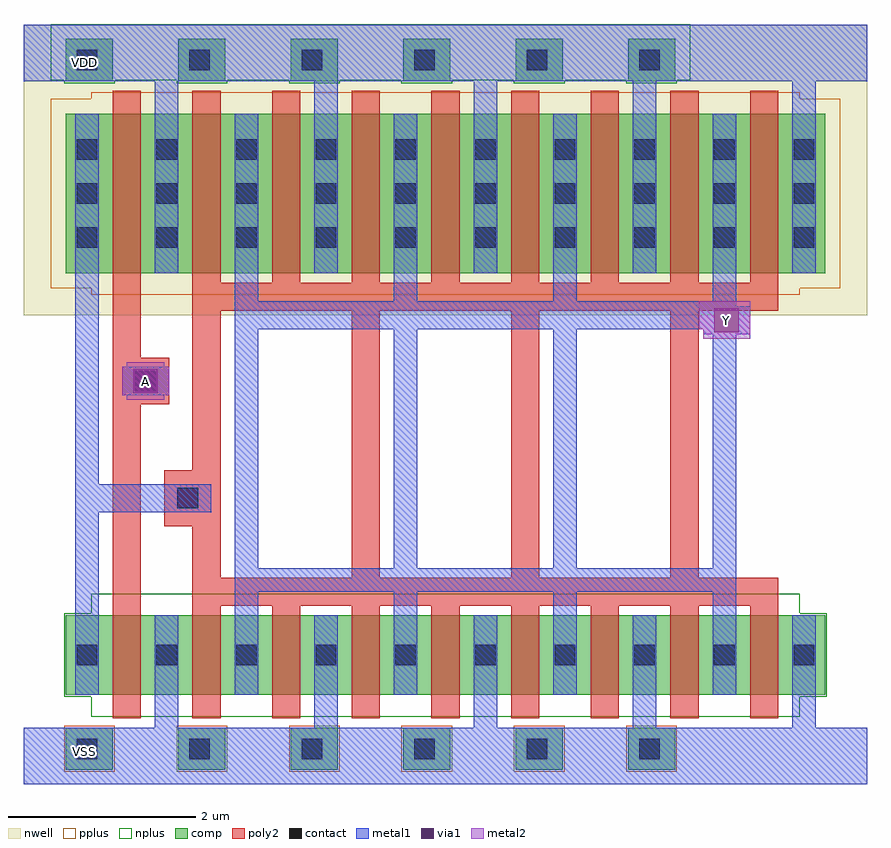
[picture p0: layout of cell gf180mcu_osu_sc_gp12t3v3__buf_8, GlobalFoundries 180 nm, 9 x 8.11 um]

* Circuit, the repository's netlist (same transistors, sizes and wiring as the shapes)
* Copyright 2022 Google LLC
*
* Licensed under the Apache License, Version 2.0 (the "License");
* you may not use this file except in compliance with the License.
* You may obtain a copy of the License at
*
*      http://www.apache.org/licenses/LICENSE-2.0
*
* Unless required by applicable law or agreed to in writing, software
* distributed under the License is distributed on an "AS IS" BASIS,
* WITHOUT WARRANTIES OR CONDITIONS OF ANY KIND, either express or implied.
* See the License for the specific language governing permissions and
* limitations under the License.

* NGSPICE file created from gf180mcu_osu_sc_gp12t3v3__buf_8.ext - technology: gf180mcuC

.subckt gf180mcu_osu_sc_gp12t3v3__buf_8 A Y VDD VSS
X0 Y a_9_21# VDD VDD pfet_03p3 w=1.7u l=0.3u
X1 VDD a_9_21# Y VDD pfet_03p3 w=1.7u l=0.3u
X2 VDD a_9_21# Y VDD pfet_03p3 w=1.7u l=0.3u
X3 Y a_9_21# VDD VDD pfet_03p3 w=1.7u l=0.3u
X4 Y a_9_21# VSS VSS nfet_03p3 w=0.85u l=0.3u
X5 VDD A a_9_21# VDD pfet_03p3 w=1.7u l=0.3u
X6 VSS a_9_21# Y VSS nfet_03p3 w=0.85u l=0.3u
X7 VSS a_9_21# Y VSS nfet_03p3 w=0.85u l=0.3u
X8 VSS A a_9_21# VSS nfet_03p3 w=0.85u l=0.3u
X9 VSS a_9_21# Y VSS nfet_03p3 w=0.85u l=0.3u
X10 VSS a_9_21# Y VSS nfet_03p3 w=0.85u l=0.3u
X11 Y a_9_21# VSS VSS nfet_03p3 w=0.85u l=0.3u
X12 Y a_9_21# VSS VSS nfet_03p3 w=0.85u l=0.3u
X13 Y a_9_21# VSS VSS nfet_03p3 w=0.85u l=0.3u
X14 VDD a_9_21# Y VDD pfet_03p3 w=1.7u l=0.3u
X15 Y a_9_21# VDD VDD pfet_03p3 w=1.7u l=0.3u
X16 VDD a_9_21# Y VDD pfet_03p3 w=1.7u l=0.3u
X17 Y a_9_21# VDD VDD pfet_03p3 w=1.7u l=0.3u
.ends

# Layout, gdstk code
import gdstk
lib = gdstk.Library(unit=1e-6, precision=1e-09)
def R(c, l, rs):  # rectangles x0, y0, x1, y1
    for r in rs: c.add(gdstk.rectangle(r[:2], r[2:], *l))
def A(c, l, x, y, w, h, nx, ny, dx, dy):  # array of equal rectangles
    R(c, l, [(x+i*dx, y+j*dy, x+i*dx+w, y+j*dy+h) for i in range(nx) for j in range(ny)])
nwell = (21, 0)
comp = (22, 0)
poly2 = (30, 0)
pplus = (31, 0)
nplus = (32, 0)
contact = (33, 0)
metal1 = (34, 0)
via1 = (35, 0)
metal2 = (36, 0)

gf180mcu_osu_sc_gp12t3v3 = lib.new_cell('gf180mcu_osu_sc_gp12t3v3__buf_8')
R(gf180mcu_osu_sc_gp12t3v3, nwell, [(0,5,9,8.1)])
A(gf180mcu_osu_sc_gp12t3v3, comp, 0.45, 0.15, 0.5, 0.45, 6, 2, 1.2, 7.35)
R(gf180mcu_osu_sc_gp12t3v3, comp, [(0.45,0.95,8.55,1.8), (0.45,5.45,8.55,7.15)])
A(gf180mcu_osu_sc_gp12t3v3, poly2, 1.8, 0.7, 0.3, 1.2, 8, 1, 0.85, 0)
A(gf180mcu_osu_sc_gp12t3v3, poly2, 3.5, 2.2, 0.3, 2.85, 3, 1, 1.7, 0)
A(gf180mcu_osu_sc_gp12t3v3, poly2, 1.8, 5.35, 0.3, 2.05, 8, 1, 0.85, 0)
R(gf180mcu_osu_sc_gp12t3v3, poly2, [(0.95,0.7,1.25,4.05), (1.8,1.9,8.05,2.2), (1.8,2.2,2.1,2.75), (1.5,2.75,2.1,3.35), (1.8,3.35,2.1,5.05), (0.95,4.05,1.55,4.55), (0.95,4.55,1.25,7.4), (1.8,5.05,8.05,5.35)])
A(gf180mcu_osu_sc_gp12t3v3, pplus, 0.43, 0.13, 0.54, 0.49, 6, 1, 1.2, 0)
R(gf180mcu_osu_sc_gp12t3v3, pplus, [(0.72,5.22,8.28,5.29), (0.29,5.29,8.71,7.31), (0.72,7.31,8.28,7.38)])
A(gf180mcu_osu_sc_gp12t3v3, nplus, 0.43, 7.48, 0.54, 0.03, 6, 1, 1.2, 0)
R(gf180mcu_osu_sc_gp12t3v3, nplus, [(0.72,0.72,8.28,0.93), (0.43,0.93,8.57,1.82), (0.72,1.82,8.28,2.03), (0.29,7.51,7.11,8.11)])
A(gf180mcu_osu_sc_gp12t3v3, contact, 0.565, 0.265, 0.22, 0.22, 6, 2, 1.2, 7.35)
A(gf180mcu_osu_sc_gp12t3v3, contact, 0.565, 1.265, 0.22, 0.22, 10, 2, 0.85, 4.455)
A(gf180mcu_osu_sc_gp12t3v3, contact, 0.565, 6.19, 0.22, 0.22, 10, 2, 0.85, 0.47)
R(gf180mcu_osu_sc_gp12t3v3, contact, [(1.64,2.94,1.86,3.16), (1.19,4.19,1.41,4.41)])
A(gf180mcu_osu_sc_gp12t3v3, metal1, 1.4, 0.6, 0.25, 1.2, 5, 1, 1.7, 0)
A(gf180mcu_osu_sc_gp12t3v3, metal1, 2.25, 0.95, 0.25, 1.1, 4, 1, 1.7, 0)
A(gf180mcu_osu_sc_gp12t3v3, metal1, 2.25, 2.3, 0.25, 2.55, 3, 1, 1.7, 0)
A(gf180mcu_osu_sc_gp12t3v3, metal1, 2.25, 5.15, 0.25, 2, 4, 1, 1.7, 0)
A(gf180mcu_osu_sc_gp12t3v3, metal1, 1.4, 5.45, 0.25, 2.05, 5, 1, 1.7, 0)
R(gf180mcu_osu_sc_gp12t3v3, metal1, [(0,0,9,0.6), (0.55,0.95,0.8,2.9), (2.25,2.05,7.6,2.3), (7.35,2.3,7.6,4.8), (0.55,2.9,2,3.2), (0.55,3.2,0.8,7.15), (1.05,4.15,1.55,4.45), (7.25,4.8,7.75,4.85), (2.25,4.85,7.75,5.1), (2.25,5.1,7.6,5.15), (0,7.5,9,8.1)])
R(gf180mcu_osu_sc_gp12t3v3, via1, [(1.17,4.17,1.43,4.43), (7.37,4.82,7.63,5.08)])
R(gf180mcu_osu_sc_gp12t3v3, metal2, [(1.1,4.1,1.5,4.15), (1.05,4.15,1.55,4.45), (1.1,4.45,1.5,4.5), (7.25,4.75,7.75,4.85), (7.2,4.85,7.75,5.15)])
gf180mcu_osu_sc_gp12t3v3.add(gdstk.Label('VDD', (0.65,7.7), layer=34, texttype=0))
gf180mcu_osu_sc_gp12t3v3.add(gdstk.Label('VSS', (0.65,0.35), layer=34, texttype=0))
gf180mcu_osu_sc_gp12t3v3.add(gdstk.Label('A', (1.3,4.3), layer=36, texttype=10))
gf180mcu_osu_sc_gp12t3v3.add(gdstk.Label('Y', (7.5,4.95), layer=36, texttype=10))

lib.write_gds('gf180mcu_osu_sc_gp12t3v3__buf_8.gds')
